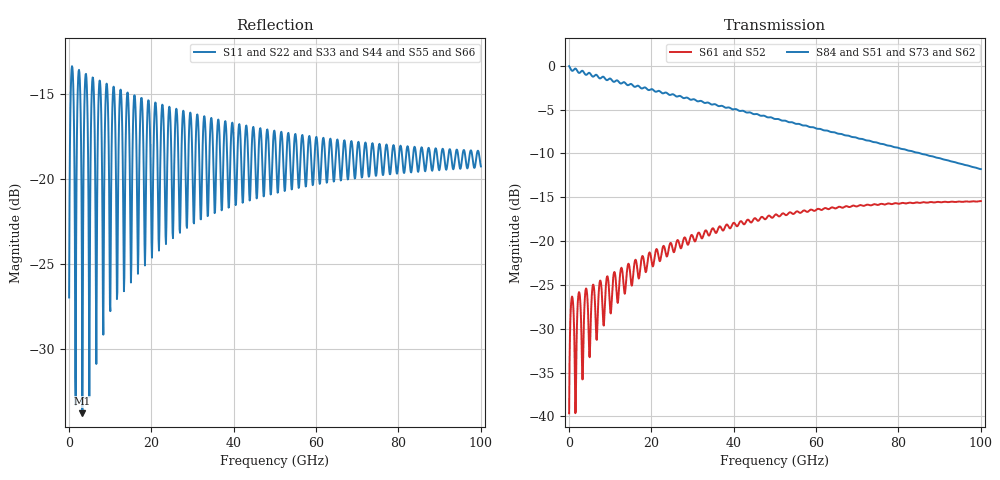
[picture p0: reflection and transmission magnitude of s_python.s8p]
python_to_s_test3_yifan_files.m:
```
clc; clear; close all;

file_path = 'C:\Users\dkcdn\Desktop\Davit\rlcg2s python\rlgc2s python development\Matlab Algorithm\RLGC to S params\data 2\Output_1.xml.tab';

frequency = linspace(1e8, 1e11, 1000); num_freq = size(frequency, 2);
length = 2.54e-5*1852.925;

[R, L, G, C] = parseRLGCfiles(file_path, frequency);
matrix_sizes = size(R,1);


S1 = rlgc2s(R, L, G, C, length, frequency, 50); % real rlgc2s()
S2 = sparameters('s_python.s8p').Parameters;

plot_s_params(S1, 'Matlab rlgc2s()', S2, 'Python rlgc2s()', matrix_sizes, frequency, 1e9, 'Frequency [GHz]', 1)
```
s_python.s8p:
! Created with skrf (http://scikit-rf.org).
# Hz S MA R 50.0
!freq magS11 angS11 magS12 angS12 magS13 angS13
! magS14 angS14 magS15 angS15 magS16 angS16 magS17 angS17
! magS18 angS18
! magS21 angS21 magS22 angS22 magS23 angS23
! magS24 angS24 magS25 angS25 magS26 angS26 magS27 angS27
! magS28 angS28
! magS31 angS31 magS32 angS32 magS33 angS33
! magS34 angS34 magS35 angS35 magS36 angS36 magS37 angS37
! magS38 angS38
! magS41 angS41 magS42 angS42 magS43 angS43
! magS44 angS44 magS45 angS45 magS46 angS46 magS47 angS47
! magS48 angS48
! magS51 angS51 magS52 angS52 magS53 angS53
! magS54 angS54 magS55 angS55 magS56 angS56 magS57 angS57
! magS58 angS58
! magS61 angS61 magS62 angS62 magS63 angS63
! magS64 angS64 magS65 angS65 magS66 angS66 magS67 angS67
! magS68 angS68
! magS71 angS71 magS72 angS72 magS73 angS73
! magS74 angS74 magS75 angS75 magS76 angS76 magS77 angS77
! magS78 angS78
! magS81 angS81 magS82 angS82 magS83 angS83
! magS84 angS84 magS85 angS85 magS86 angS86 magS87 angS87
! magS88 angS88
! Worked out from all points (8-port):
!   1000 points, 100 MHz to 100 GHz, reference 50 ohm
!   strongest paths, dB at 100 MHz, 25.1 GHz, 50.1 GHz, 75.1 GHz, 100 GHz:
!     S84: -0.1, -3.3, -6.1, -8.8, -11.8
!     S51: -0.1, -3.3, -6.1, -8.8, -11.8
!     S73: -0.1, -3.3, -6.1, -8.9, -11.9
!     S62: -0.1, -3.3, -6.1, -8.9, -11.9
!     S61: -39.6, -20.7, -17.0, -15.9, -15.4
!     S52: -39.6, -20.7, -17.0, -15.9, -15.4
!   lowest |S11| = -33.8 dB at 3.3 GHz (marker M1), VSWR 1.04, Z = 48.3 + j1.05 ohm
!   |S11| at or under -10 dB: start of sweep to end of sweep
